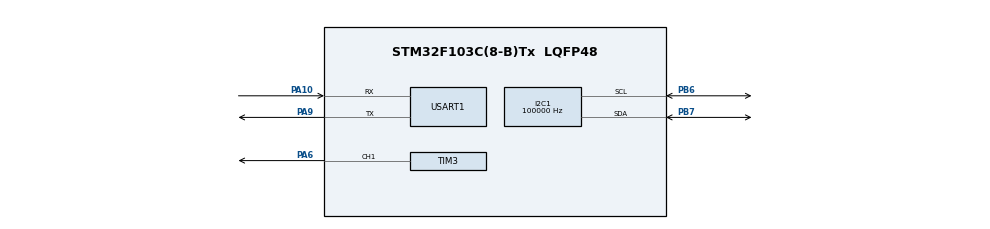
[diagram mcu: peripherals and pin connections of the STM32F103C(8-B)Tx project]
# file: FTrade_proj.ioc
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I2C1.ClockSpeed=100000
Mcu.Family=STM32F1
Mcu.Name=STM32F103C(8-B)Tx
Mcu.Package=LQFP48
NVIC.I2C1_ER_IRQn=true\:0\:0\:false\:false\:true\:true\:true\:true
NVIC.I2C1_EV_IRQn=true\:0\:0\:false\:false\:true\:true\:true\:true
NVIC.PriorityGroup=NVIC_PRIORITYGROUP_4
NVIC.USART1_IRQn=true\:0\:0\:false\:false\:true\:true\:true\:true
PA10.Mode=Asynchronous
PA10.Signal=USART1_RX
PA6.Signal=S_TIM3_CH1
PA9.Mode=Asynchronous
PA9.Signal=USART1_TX
PB6.Mode=I2C
PB6.Signal=I2C1_SCL
PB7.Mode=I2C
PB7.Signal=I2C1_SDA
ProjectManager.HeapSize=0x200
ProjectManager.StackSize=0x400
ProjectManager.TargetToolchain=Makefile
RCC.APB1Freq_Value=8000000
RCC.APB2Freq_Value=8000000
SH.S_TIM3_CH1.0=TIM3_CH1,PWM Generation1 CH1
TIM3.Channel-PWM\ Generation1\ CH1=TIM_CHANNEL_1
TIM3.Period=255
USART1.VirtualMode=VM_ASYNC
VP_SYS_VS_ND.Mode=No_Debug
board=custom

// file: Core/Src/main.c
/* USER CODE BEGIN Header */
/* USER CODE END Header */
#include "main.h"
#include "i2c.h"
#include "tim.h"
#include "usart.h"
#include "gpio.h"

/* USER CODE BEGIN Includes */
#include <stdio.h>
#include <stdint.h>
#include <stdlib.h>
#include <string.h>
/* USER CODE END Includes */

/* USER CODE BEGIN PD */
#define DEFAULT_IO_TIMEOUT 10
#define SLAVE_ADDR 0xA0
#define MEM_ADDR 0x00
#define NUM_BYTES 128
#define PUTCHAR_PROTOTYPE int __io_putchar(int ch)
/* USER CODE END PD */

void SystemClock_Config(void);
/* USER CODE BEGIN PFP */
void UART_Read(uint8_t*, uint16_t);
/* USER CODE END PFP */

int main(void)
{

  /* MCU Configuration--------------------------------------------------------*/

  /* Reset of all peripherals, Initializes the Flash interface and the Systick. */
  HAL_Init();

  /* Configure the system clock */
  SystemClock_Config();

  /* Initialize all configured peripherals */
  MX_GPIO_Init();
  MX_USART1_UART_Init();
  MX_I2C1_Init();
  MX_TIM3_Init();
  /* USER CODE BEGIN 2 */

  uint8_t pData[128];
  uint16_t pSize = sizeof(pData);

  /* USER CODE END 2 */

  /* Infinite loop */
  /* USER CODE BEGIN WHILE */
  while(1){
    if(__HAL_UART_GET_FLAG(&huart1, UART_FLAG_RXNE)){
        memset(pData, 0, pSize);
        UART_Read(pData, pSize);

        if(strncmp((char*)pData, "on led1", 7) == 0){
          HAL_GPIO_WritePin(GPIOA, GPIO_PIN_5, GPIO_PIN_SET);
          printf("ON LED1\n");
        }
        else if(strncmp((char*)pData, "off led1", 8) == 0)
        {
          HAL_GPIO_WritePin(GPIOA, GPIO_PIN_5, GPIO_PIN_RESET);
          printf("OFF LED1\n");
        }
        else if(strncmp((char*)pData, "on led2", 7) == 0)
        {
          HAL_TIM_PWM_Start(&htim3, TIM_CHANNEL_1);
          for(uint32_t i = 0; i < htim3.Init.Period; i++){
            __HAL_TIM_SET_COMPARE(&htim3, TIM_CHANNEL_1, i);
            HAL_Delay(5);
          }
          printf("ON LED2(PWM)\n");
        }
        else if(strncmp((char*)pData, "off led2", 8) == 0)
        {
          for(uint32_t i = __HAL_TIM_GET_COMPARE(&htim3, TIM_CHANNEL_1); i > 0; --i){
            __HAL_TIM_SET_COMPARE(&htim3, TIM_CHANNEL_1, i);
            HAL_Delay(5);
          }
          HAL_TIM_PWM_Stop(&htim3, TIM_CHANNEL_1);
          printf("OFF LED2(PWM)\n");
        }
        else if(strncmp((char*)pData, "read i2c", 8) == 0){
          uint8_t i2c_buffer[128];
          HAL_StatusTypeDef status = HAL_I2C_Mem_Read(&hi2c1, SLAVE_ADDR,MEM_ADDR, I2C_MEMADD_SIZE_8BIT, i2c_buffer, NUM_BYTES, DEFAULT_IO_TIMEOUT);

          if(status == HAL_OK){
           HAL_UART_Transmit(&huart1, i2c_buffer, 128, DEFAULT_IO_TIMEOUT);
          }
        }
        else
        {
          char mData[11 + strlen((char*)pData)];
          sprintf(mData, "unknown: %s\n", (char*)pData);
          printf(mData);
        }
    }
    HAL_Delay(1000);
  }
    /* USER CODE END WHILE */

}

void SystemClock_Config(void)
{
  RCC_OscInitTypeDef RCC_OscInitStruct = {0};
  RCC_ClkInitTypeDef RCC_ClkInitStruct = {0};

  /** Initializes the RCC Oscillators according to the specified parameters
  * in the RCC_OscInitTypeDef structure.
  */
  RCC_OscInitStruct.OscillatorType = RCC_OSCILLATORTYPE_HSI;
  RCC_OscInitStruct.HSIState = RCC_HSI_ON;
  RCC_OscInitStruct.HSICalibrationValue = RCC_HSICALIBRATION_DEFAULT;
  RCC_OscInitStruct.PLL.PLLState = RCC_PLL_NONE;
  if (HAL_RCC_OscConfig(&RCC_OscInitStruct) != HAL_OK)
  {
    Error_Handler();
  }

  /** Initializes the CPU, AHB and APB buses clocks
  */
  RCC_ClkInitStruct.ClockType = RCC_CLOCKTYPE_HCLK|RCC_CLOCKTYPE_SYSCLK
                              |RCC_CLOCKTYPE_PCLK1|RCC_CLOCKTYPE_PCLK2;
  RCC_ClkInitStruct.SYSCLKSource = RCC_SYSCLKSOURCE_HSI;
  RCC_ClkInitStruct.AHBCLKDivider = RCC_SYSCLK_DIV1;
  RCC_ClkInitStruct.APB1CLKDivider = RCC_HCLK_DIV1;
  RCC_ClkInitStruct.APB2CLKDivider = RCC_HCLK_DIV1;

  if (HAL_RCC_ClockConfig(&RCC_ClkInitStruct, FLASH_LATENCY_0) != HAL_OK)
  {
    Error_Handler();
  }
}

/* USER CODE BEGIN 4 */
PUTCHAR_PROTOTYPE
{
  HAL_UART_Transmit(&huart1, (uint8_t *)&ch, 1, DEFAULT_IO_TIMEOUT);

  return ch;
}

void UART_Read(uint8_t *str, uint16_t size){
  if(str == NULL) return;
  for(uint16_t read_bytes = 0; read_bytes < size && HAL_UART_Receive(&huart1, str, 1, DEFAULT_IO_TIMEOUT) == HAL_OK && *str; str++, read_bytes++);
}

/* USER CODE END 4 */

void Error_Handler(void)
{
}
